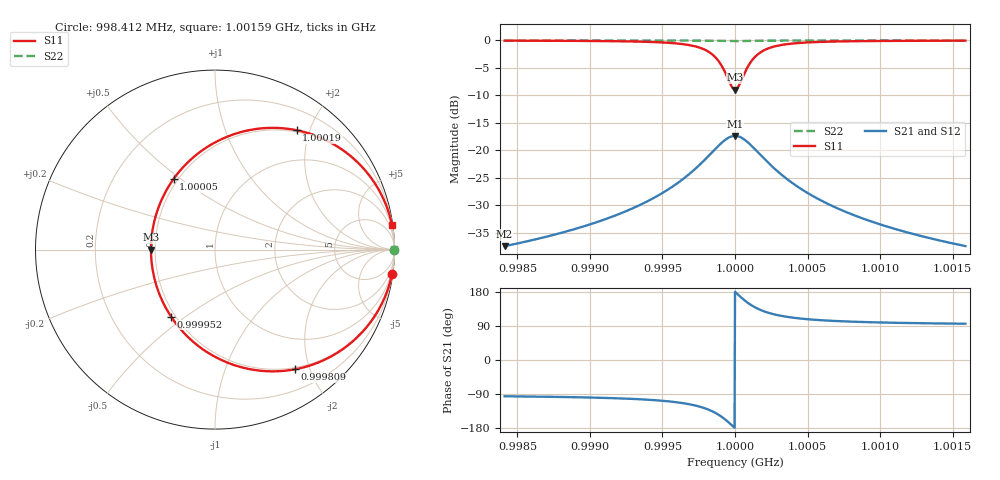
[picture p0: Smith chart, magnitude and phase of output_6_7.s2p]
! File generated for n1 = 6, n2 = 7
! b1 = 2.154435
! b2 = 0.021544
! Q0 = 10000.000000
! f0 = 1000000000.000000
! n = 1001
! rel_span = 10.000000
# Hz S RI R 50
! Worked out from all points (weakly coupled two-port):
!   1001 points, 998.412 MHz to 1.00159 GHz, reference 50 ohm
!   highest |S21| = -17.35 dB at 1 GHz (marker M1); lowest = -37.4 dB at 998.412 MHz (marker M2)
!   lowest |S11| = -9.0 dB at 1 GHz (marker M3), VSWR 2.11, Z = 23.7 + j0 ohm
!   |S11| at or under -10 dB: nowhere
!   |S22| runs from -0.1 to 0.0 dB; largest |S21 - S12| = 0
!   S11 on the Smith chart (normalised r, x): 998.412 MHz: 0, -15; 999.809 MHz: 0.47, -1.77; 999.952 MHz: 0.47, -0.44; 1.00005 GHz: 0.47, +0.47; 1.00019 GHz: 0.47, +1.80; 1.00159 GHz: 0, +15
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9.98412e8  0.9866 -0.1342  -0.00134 -0.0134  -0.00134 -0.0134  0.9999 -0.00134
9.989424e8  0.9701 -0.1991  -0.00299 -0.0199  -0.00299 -0.0199  0.9997 -0.00199
9.992441e8  0.9427 -0.2729  -0.00573 -0.0273  -0.00573 -0.0273  0.9994 -0.00273
9.994728e8  0.8872 -0.3746  -0.0113 -0.0375  -0.0113 -0.0375  0.9989 -0.00375
9.996761e8  0.7372 -0.5362  -0.0263 -0.0536  -0.0263 -0.0536  0.9974 -0.00536
9.997491e8  0.612 -0.6131  -0.0388 -0.0613  -0.0388 -0.0613  0.9961 -0.00613
9.998094e8  0.444 -0.6672  -0.0556 -0.0667  -0.0556 -0.0667  0.9944 -0.00667
9.998888e8  0.0895 -0.6374  -0.0911 -0.0637  -0.0911 -0.0637  0.9909 -0.00637
9.999206e8  -0.0853 -0.5427  -0.1085 -0.0543  -0.1085 -0.0543  0.9891 -0.00543
9.999524e8  -0.2447 -0.3734  -0.1245 -0.0373  -0.1245 -0.0373  0.9876 -0.00373
1e9  -0.3567 0  -0.1357 0  -0.1357 0  0.9864 0
1.000025e9  -0.3228 0.2117  -0.1323 0.0212  -0.1323 0.0212  0.9868 0.00212
1.000051e9  -0.2307 0.3938  -0.1231 0.0394  -0.1231 0.0394  0.9877 0.00394
1.000079e9  -0.0854 0.5427  -0.1085 0.0543  -0.1085 0.0543  0.9891 0.00543
1.000111e9  0.0894 0.6374  -0.0911 0.0637  -0.0911 0.0637  0.9909 0.00637
1.000146e9  0.2652 0.676  -0.0735 0.0676  -0.0735 0.0676  0.9927 0.00676
1.000194e9  0.4547 0.6652  -0.0545 0.0665  -0.0545 0.0665  0.9945 0.00665
1.000254e9  0.6188 0.6098  -0.0381 0.061  -0.0381 0.061  0.9962 0.0061
1.000327e9  0.7412 0.533  -0.0259 0.0533  -0.0259 0.0533  0.9974 0.00533
1.00053e9  0.8883 0.3729  -0.0112 0.0373  -0.0112 0.0373  0.9989 0.00373
1.001061e9  0.9702 0.1987  -0.00298 0.0199  -0.00298 0.0199  0.9997 0.00199
1.001588e9  0.9865 0.1344  -0.00135 0.0134  -0.00135 0.0134  0.9999 0.00134
